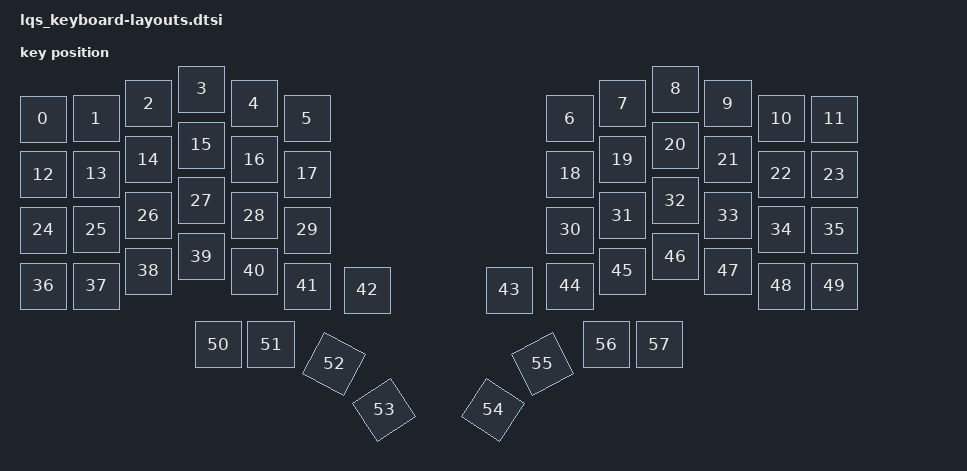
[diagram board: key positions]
#include <physical_layouts.dtsi>

/ {
    physical_layout0: physical_layout_0 {
        compatible = "zmk,physical-layout";
        display-name = "LAYOUT";

        kscan = <&kscan0>;
        transform = <&matrix_transform0>;

        keys  //                     w   h    x    y     rot    rx    ry
            = <&key_physical_attrs 100 100    0   60       0     0     0>
            , <&key_physical_attrs 100 100  106   59       0     0     0>
            , <&key_physical_attrs 100 100  211   29       0     0     0>
            , <&key_physical_attrs 100 100  317    0       0     0     0>
            , <&key_physical_attrs 100 100  422   29       0     0     0>
            , <&key_physical_attrs 100 100  528   59       0     0     0>
            , <&key_physical_attrs 100 100 1054   59       0     0     0>
            , <&key_physical_attrs 100 100 1159   29       0     0     0>
            , <&key_physical_attrs 100 100 1265    0       0     0     0>
            , <&key_physical_attrs 100 100 1370   29       0     0     0>
            , <&key_physical_attrs 100 100 1476   59       0     0     0>
            , <&key_physical_attrs 100 100 1582   60       0     0     0>
            , <&key_physical_attrs 100 100    0  171       0     0     0>
            , <&key_physical_attrs 100 100  106  170       0     0     0>
            , <&key_physical_attrs 100 100  211  141       0     0     0>
            , <&key_physical_attrs 100 100  317  112       0     0     0>
            , <&key_physical_attrs 100 100  422  141       0     0     0>
            , <&key_physical_attrs 100 100  528  170       0     0     0>
            , <&key_physical_attrs 100 100 1054  170       0     0     0>
            , <&key_physical_attrs 100 100 1159  141       0     0     0>
            , <&key_physical_attrs 100 100 1265  112       0     0     0>
            , <&key_physical_attrs 100 100 1370  141       0     0     0>
            , <&key_physical_attrs 100 100 1476  170       0     0     0>
            , <&key_physical_attrs 100 100 1582  171       0     0     0>
            , <&key_physical_attrs 100 100    0  282       0     0     0>
            , <&key_physical_attrs 100 100  106  281       0     0     0>
            , <&key_physical_attrs 100 100  211  253       0     0     0>
            , <&key_physical_attrs 100 100  317  223       0     0     0>
            , <&key_physical_attrs 100 100  422  253       0     0     0>
            , <&key_physical_attrs 100 100  528  282       0     0     0>
            , <&key_physical_attrs 100 100 1054  282       0     0     0>
            , <&key_physical_attrs 100 100 1159  253       0     0     0>
            , <&key_physical_attrs 100 100 1265  223       0     0     0>
            , <&key_physical_attrs 100 100 1370  253       0     0     0>
            , <&key_physical_attrs 100 100 1476  281       0     0     0>
            , <&key_physical_attrs 100 100 1582  282       0     0     0>
            , <&key_physical_attrs 100 100    0  394       0     0     0>
            , <&key_physical_attrs 100 100  106  394       0     0     0>
            , <&key_physical_attrs 100 100  211  364       0     0     0>
            , <&key_physical_attrs 100 100  317  335       0     0     0>
            , <&key_physical_attrs 100 100  422  364       0     0     0>
            , <&key_physical_attrs 100 100  528  394       0     0     0>
            , <&key_physical_attrs 100 100  649  402       0     0     0>
            , <&key_physical_attrs 100 100  933  402       0     0     0>
            , <&key_physical_attrs 100 100 1054  394       0     0     0>
            , <&key_physical_attrs 100 100 1159  364       0     0     0>
            , <&key_physical_attrs 100 100 1265  335       0     0     0>
            , <&key_physical_attrs 100 100 1370  364       0     0     0>
            , <&key_physical_attrs 100 100 1476  394       0     0     0>
            , <&key_physical_attrs 100 100 1582  394       0     0     0>
            , <&key_physical_attrs 100 100  350  511       0     0     0>
            , <&key_physical_attrs 100 100  456  511       0     0     0>
            , <&key_physical_attrs 100 100  582  550    2800   632   600>
            , <&key_physical_attrs 100 100  682  642 (-3400)   732   692>
            , <&key_physical_attrs 100 100  900  642    3400   950   692>
            , <&key_physical_attrs 100 100  999  550 (-2800)  1049   600>
            , <&key_physical_attrs 100 100 1126  511       0     0     0>
            , <&key_physical_attrs 100 100 1232  511       0     0     0>
            ;
    };
};
